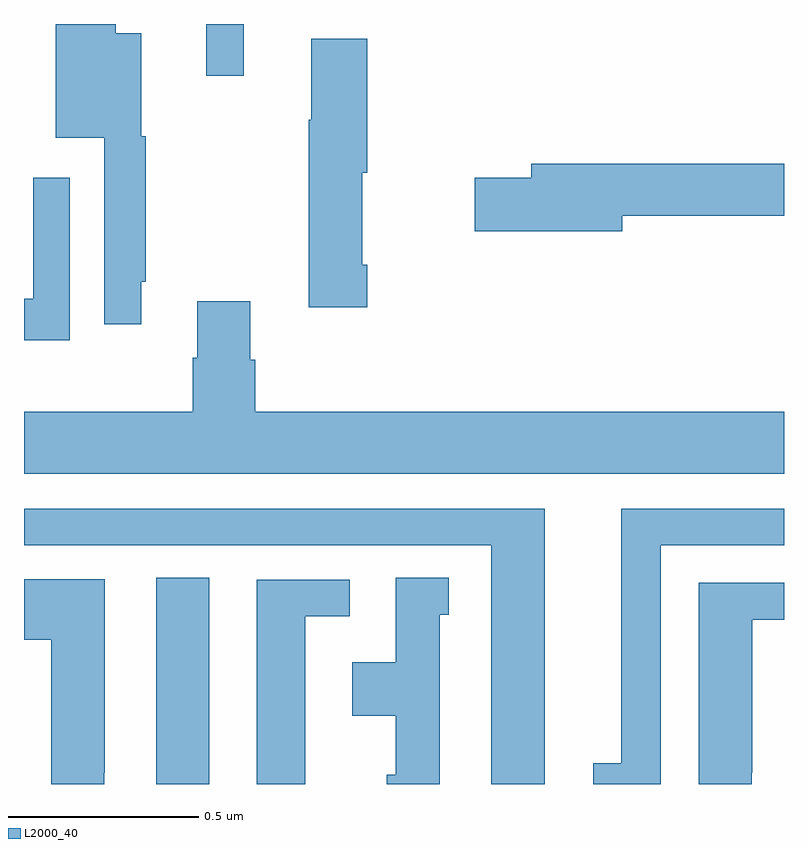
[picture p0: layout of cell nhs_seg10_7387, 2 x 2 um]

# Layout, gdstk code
import gdstk
lib = gdstk.Library(unit=1e-6, precision=1e-09)
def R(c, l, rs):  # rectangles x0, y0, x1, y1
    for r in rs: c.add(gdstk.rectangle(r[:2], r[2:], *l))
def P(c, l, *ps):  # polygons
    for p in ps: c.add(gdstk.Polygon(p, *l))
L2000_40 = (2000, 40)

nhs_seg10_7387 = lib.new_cell('nhs_seg10_7387')
R(nhs_seg10_7387, L2000_40, [(203.348,1299.5,203.488,1300.043), (203.479,1301.364,203.578,1301.5)])
P(nhs_seg10_7387, L2000_40, [(203.308,1300.822),(203.32,1300.822),(203.32,1301.205),(203.308,1301.205),(203.308,1301.476),(203.242,1301.476),(203.242,1301.5),(203.084,1301.5),(203.084,1301.201),(203.211,1301.201),(203.211,1300.71),(203.308,1300.71)],
  [(203.903,1300.867),(203.89,1300.867),(203.89,1301.108),(203.903,1301.108),(203.903,1301.461),(203.756,1301.461),(203.756,1301.248),(203.749,1301.248),(203.749,1300.755),(203.903,1300.755)],
  [(204.574,1300.996),(205,1300.996),(205,1301.132),(204.335,1301.132),(204.335,1301.096),(204.186,1301.096),(204.186,1300.954),(204.574,1300.954)],
  [(203.121,1301.095),(203.024,1301.095),(203.024,1300.777),(203,1300.777),(203,1300.668),(203.121,1300.668)],
  [(205,1300.48),(203.609,1300.48),(203.609,1300.617),(203.596,1300.617),(203.596,1300.771),(203.456,1300.771),(203.456,1300.622),(203.444,1300.622),(203.444,1300.48),(203,1300.48),(203,1300.316),(205,1300.316)],
  [(204.676,1300.128),(205,1300.128),(205,1300.224),(204.572,1300.224),(204.572,1299.554),(204.498,1299.554),(204.498,1299.5),(204.676,1299.5)],
  [(204.37,1300.224),(203,1300.224),(203,1300.128),(204.23,1300.128),(204.23,1299.5),(204.37,1299.5)],
  [(204.094,1299.945),(204.118,1299.945),(204.118,1300.043),(203.978,1300.043),(203.978,1299.82),(203.864,1299.82),(203.864,1299.68),(203.978,1299.68),(203.978,1299.525),(203.954,1299.525),(203.954,1299.5),(204.094,1299.5)],
  [(203.211,1299.529),(203.212,1299.529),(203.212,1300.039),(203,1300.039),(203,1299.88),(203.072,1299.88),(203.072,1299.5),(203.211,1299.5)],
  [(203.74,1299.942),(203.857,1299.942),(203.857,1300.038),(203.612,1300.038),(203.612,1299.5),(203.74,1299.5)],
  [(204.915,1299.529),(204.916,1299.529),(204.916,1299.932),(205,1299.932),(205,1300.029),(204.776,1300.029),(204.776,1299.5),(204.915,1299.5)])

lib.write_gds('nhs_seg10_7387.gds')
